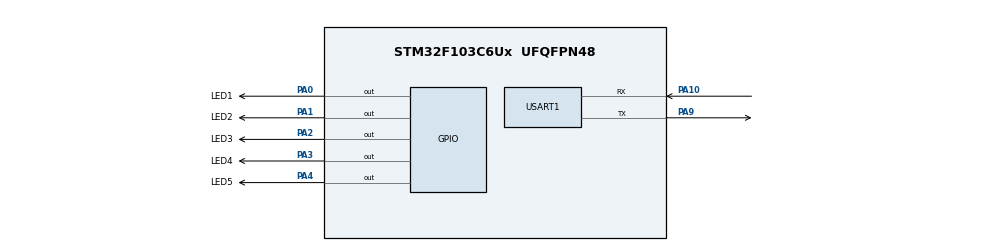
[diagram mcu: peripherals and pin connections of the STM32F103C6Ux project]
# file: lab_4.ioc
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Mcu.Family=STM32F1
Mcu.Name=STM32F103C6Ux
Mcu.Package=UFQFPN48
NVIC.PriorityGroup=NVIC_PRIORITYGROUP_4
NVIC.TIM2_IRQn=true\:0\:0\:false\:false\:true\:true\:true
PA0-WKUP.GPIO_Label=LED1
PA0-WKUP.Signal=GPIO_Output
PA1.GPIO_Label=LED2
PA1.Signal=GPIO_Output
PA10.Mode=Asynchronous
PA10.Signal=USART1_RX
PA2.GPIO_Label=LED3
PA2.Signal=GPIO_Output
PA3.GPIO_Label=LED4
PA3.Signal=GPIO_Output
PA4.GPIO_Label=LED5
PA4.Signal=GPIO_Output
PA9.Mode=Asynchronous
PA9.Signal=USART1_TX
ProjectManager.HeapSize=0x200
ProjectManager.StackSize=0x400
ProjectManager.TargetToolchain=STM32CubeIDE
RCC.APB1Freq_Value=8000000
RCC.APB2Freq_Value=8000000
TIM2.Period=999
TIM2.Prescaler=79
USART1.VirtualMode=VM_ASYNC
VP_SYS_VS_ND.Mode=No_Debug
VP_TIM2_VS_ClockSourceINT.Mode=Internal
board=custom

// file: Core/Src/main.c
/* USER CODE BEGIN Header */
/**
  ******************************************************************************
  * @file           : main.c
  * @brief          : Main program body
  ******************************************************************************
  * @attention
  *
  * <h2><center>&copy; Copyright (c) 2026 STMicroelectronics.
  * All rights reserved.</center></h2>
  *
  * This software component is licensed by ST under BSD 3-Clause license,
  * the "License"; You may not use this file except in compliance with the
  * License. You may obtain a copy of the License at:
  *                        opensource.org/licenses/BSD-3-Clause
  *
  ******************************************************************************
  */
/* USER CODE END Header */
#include "main.h"

/* USER CODE BEGIN Includes */
#include "scheduler.h"
#include <stdio.h>
/* USER CODE END Includes */

TIM_HandleTypeDef htim2;

UART_HandleTypeDef huart1;

void SystemClock_Config(void);
static void MX_GPIO_Init(void);
static void MX_TIM2_Init(void);
static void MX_USART1_UART_Init(void);

/* USER CODE BEGIN 0 */
int _write(int file, char *ptr, int len) {
    HAL_UART_Transmit(&huart1, (uint8_t*)ptr, len, 50);
    return len;
}

void Task1_LED1(void) {
    HAL_GPIO_TogglePin(GPIOA, LED1_Pin);
    printf("[%lums] T1 0.5s\r\n", HAL_GetTick());
}

void Task2_LED2(void) {
    HAL_GPIO_TogglePin(GPIOA, LED2_Pin);
    printf("[%lums] T2 1.0s\r\n", HAL_GetTick());
}

void Task3_LED3(void) {
    HAL_GPIO_TogglePin(GPIOA, LED3_Pin);
    printf("[%lums] T3 1.5s\r\n", HAL_GetTick());
}

void Task4_LED4(void) {
    HAL_GPIO_TogglePin(GPIOA, LED4_Pin);
    printf("[%lums] T4 2.0s\r\n", HAL_GetTick());
}

void Task5_LED5(void) {
    HAL_GPIO_TogglePin(GPIOA, LED5_Pin);
    printf("[%lums] T5 2.5s\r\n", HAL_GetTick());
}

void HAL_TIM_PeriodElapsedCallback(TIM_HandleTypeDef *htim) {
    if (htim->Instance == TIM2) {
        SCH_Update();
    }
}
/* USER CODE END 0 */

int main(void)
{

  /* MCU Configuration--------------------------------------------------------*/

  /* Reset of all peripherals, Initializes the Flash interface and the Systick. */
  HAL_Init();

  /* Configure the system clock */
  SystemClock_Config();

  /* Initialize all configured peripherals */
  MX_GPIO_Init();
  MX_TIM2_Init();
  MX_USART1_UART_Init();
  /* USER CODE BEGIN 2 */
  HAL_TIM_Base_Start_IT(&htim2);
  SCH_Init();

  SCH_Add_Task(Task1_LED1, 50, 50);
  SCH_Add_Task(Task2_LED2, 100, 100);
  SCH_Add_Task(Task3_LED3, 150, 150);
  SCH_Add_Task(Task4_LED4, 200, 200);
  SCH_Add_Task(Task5_LED5, 250, 250);
  /* USER CODE END 2 */

  /* Infinite loop */
  /* USER CODE BEGIN WHILE */
  while (1)
  {
    SCH_Dispatch_Tasks();
    /* USER CODE END WHILE */

  }
}

void SystemClock_Config(void)
{
  RCC_OscInitTypeDef RCC_OscInitStruct = {0};
  RCC_ClkInitTypeDef RCC_ClkInitStruct = {0};

  /** Initializes the RCC Oscillators according to the specified parameters
  * in the RCC_OscInitTypeDef structure.
  */
  RCC_OscInitStruct.OscillatorType = RCC_OSCILLATORTYPE_HSI;
  RCC_OscInitStruct.HSIState = RCC_HSI_ON;
  RCC_OscInitStruct.HSICalibrationValue = RCC_HSICALIBRATION_DEFAULT;
  RCC_OscInitStruct.PLL.PLLState = RCC_PLL_NONE;
  if (HAL_RCC_OscConfig(&RCC_OscInitStruct) != HAL_OK)
  {
    Error_Handler();
  }
  /** Initializes the CPU, AHB and APB buses clocks
  */
  RCC_ClkInitStruct.ClockType = RCC_CLOCKTYPE_HCLK|RCC_CLOCKTYPE_SYSCLK
                              |RCC_CLOCKTYPE_PCLK1|RCC_CLOCKTYPE_PCLK2;
  RCC_ClkInitStruct.SYSCLKSource = RCC_SYSCLKSOURCE_HSI;
  RCC_ClkInitStruct.AHBCLKDivider = RCC_SYSCLK_DIV1;
  RCC_ClkInitStruct.APB1CLKDivider = RCC_HCLK_DIV1;
  RCC_ClkInitStruct.APB2CLKDivider = RCC_HCLK_DIV1;

  if (HAL_RCC_ClockConfig(&RCC_ClkInitStruct, FLASH_LATENCY_0) != HAL_OK)
  {
    Error_Handler();
  }
}

static void MX_TIM2_Init(void)
{

  TIM_ClockConfigTypeDef sClockSourceConfig = {0};
  TIM_MasterConfigTypeDef sMasterConfig = {0};

  htim2.Instance = TIM2;
  htim2.Init.Prescaler = 79;
  htim2.Init.CounterMode = TIM_COUNTERMODE_UP;
  htim2.Init.Period = 999;
  htim2.Init.ClockDivision = TIM_CLOCKDIVISION_DIV1;
  htim2.Init.AutoReloadPreload = TIM_AUTORELOAD_PRELOAD_DISABLE;
  if (HAL_TIM_Base_Init(&htim2) != HAL_OK)
  {
    Error_Handler();
  }
  sClockSourceConfig.ClockSource = TIM_CLOCKSOURCE_INTERNAL;
  if (HAL_TIM_ConfigClockSource(&htim2, &sClockSourceConfig) != HAL_OK)
  {
    Error_Handler();
  }
  sMasterConfig.MasterOutputTrigger = TIM_TRGO_RESET;
  sMasterConfig.MasterSlaveMode = TIM_MASTERSLAVEMODE_DISABLE;
  if (HAL_TIMEx_MasterConfigSynchronization(&htim2, &sMasterConfig) != HAL_OK)
  {
    Error_Handler();
  }

}

static void MX_USART1_UART_Init(void)
{

  huart1.Instance = USART1;
  huart1.Init.BaudRate = 115200;
  huart1.Init.WordLength = UART_WORDLENGTH_8B;
  huart1.Init.StopBits = UART_STOPBITS_1;
  huart1.Init.Parity = UART_PARITY_NONE;
  huart1.Init.Mode = UART_MODE_TX_RX;
  huart1.Init.HwFlowCtl = UART_HWCONTROL_NONE;
  huart1.Init.OverSampling = UART_OVERSAMPLING_16;
  if (HAL_UART_Init(&huart1) != HAL_OK)
  {
    Error_Handler();
  }

}

static void MX_GPIO_Init(void)
{
  GPIO_InitTypeDef GPIO_InitStruct = {0};

  /* GPIO Ports Clock Enable */
  __HAL_RCC_GPIOA_CLK_ENABLE();

  /*Configure GPIO pin Output Level */
  HAL_GPIO_WritePin(GPIOA, LED1_Pin|LED2_Pin|LED3_Pin|LED4_Pin
                          |LED5_Pin, GPIO_PIN_RESET);

  /*Configure GPIO pins : LED1_Pin LED2_Pin LED3_Pin LED4_Pin
                           LED5_Pin */
  GPIO_InitStruct.Pin = LED1_Pin|LED2_Pin|LED3_Pin|LED4_Pin
                          |LED5_Pin;
  GPIO_InitStruct.Mode = GPIO_MODE_OUTPUT_PP;
  GPIO_InitStruct.Pull = GPIO_NOPULL;
  GPIO_InitStruct.Speed = GPIO_SPEED_FREQ_LOW;
  HAL_GPIO_Init(GPIOA, &GPIO_InitStruct);

}

void Error_Handler(void)
{
  __disable_irq();
  while (1)
  {
  }
}

/************************ (C) COPYRIGHT STMicroelectronics *****END OF FILE****/
